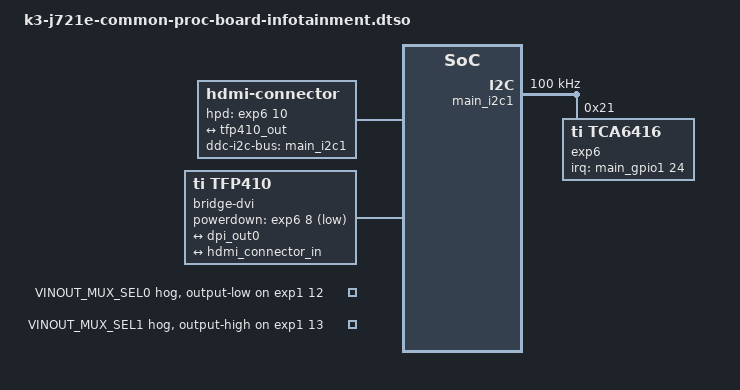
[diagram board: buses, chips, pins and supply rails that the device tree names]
// SPDX-License-Identifier: GPL-2.0-only OR MIT
/*
 * Infotainment Expansion Board for j721e-evm
 * User Guide: <https://www.ti.com/lit/ug/spruit0a/spruit0a.pdf>
 *
 * Copyright (C) 2024 Texas Instruments Incorporated - https://www.ti.com/
 */

/dts-v1/;
/plugin/;

#include <dt-bindings/gpio/gpio.h>
#include <dt-bindings/interrupt-controller/irq.h>

#include "k3-pinctrl.h"

&{/} {
	connector-hdmi {
		compatible = "hdmi-connector";
		label = "hdmi";
		type = "a";
		ddc-i2c-bus = <&main_i2c1>;
		/* P12 - HDMI_HPD */
		hpd-gpios = <&exp6 10 GPIO_ACTIVE_HIGH>;

		port {
			hdmi_connector_in: endpoint {
				remote-endpoint = <&tfp410_out>;
			};
		};
	};

	bridge-dvi {
		compatible = "ti,tfp410";
		/* P10 - HDMI_PDn */
		powerdown-gpios = <&exp6 8 GPIO_ACTIVE_LOW>;
		ti,deskew = <0>;

		ports {
			#address-cells = <1>;
			#size-cells = <0>;

			port@0 {
				reg = <0>;

				tfp410_in: endpoint {
					remote-endpoint = <&dpi_out0>;
					pclk-sample = <1>;
				};
			};

			port@1 {
				reg = <1>;

				tfp410_out: endpoint {
					remote-endpoint =
						<&hdmi_connector_in>;
				};
			};
		};
	};
};

&main_pmx0 {
	main_i2c1_exp6_pins_default: main-i2c1-exp6-default-pins {
		pinctrl-single,pins = <
			J721E_IOPAD(0x264, PIN_INPUT, 7) /* (T29) MMC2_DAT2.GPIO1_24 */
		>;
	};

	dss_vout0_pins_default: dss-vout0-default-pins {
		pinctrl-single,pins = <
			J721E_IOPAD(0x58, PIN_OUTPUT, 10) /* (AE22) PRG1_PRU1_GPO0.VOUT0_DATA0 */
			J721E_IOPAD(0x5c, PIN_OUTPUT, 10) /* (AG23) PRG1_PRU1_GPO1.VOUT0_DATA1 */
			J721E_IOPAD(0x60, PIN_OUTPUT, 10) /* (AF23) PRG1_PRU1_GPO2.VOUT0_DATA2 */
			J721E_IOPAD(0x64, PIN_OUTPUT, 10) /* (AD23) PRG1_PRU1_GPO3.VOUT0_DATA3 */
			J721E_IOPAD(0x68, PIN_OUTPUT, 10) /* (AH24) PRG1_PRU1_GPO4.VOUT0_DATA4 */
			J721E_IOPAD(0x6c, PIN_OUTPUT, 10) /* (AG21) PRG1_PRU1_GPO5.VOUT0_DATA5 */
			J721E_IOPAD(0x70, PIN_OUTPUT, 10) /* (AE23) PRG1_PRU1_GPO6.VOUT0_DATA6 */
			J721E_IOPAD(0x74, PIN_OUTPUT, 10) /* (AC21) PRG1_PRU1_GPO7.VOUT0_DATA7 */
			J721E_IOPAD(0x78, PIN_OUTPUT, 10) /* (Y23)  PRG1_PRU1_GPO8.VOUT0_DATA8 */
			J721E_IOPAD(0x7c, PIN_OUTPUT, 10) /* (AF21) PRG1_PRU1_GPO9.VOUT0_DATA9 */
			J721E_IOPAD(0x80, PIN_OUTPUT, 10) /* (AB23) PRG1_PRU1_GPO10.VOUT0_DATA10 */
			J721E_IOPAD(0x84, PIN_OUTPUT, 10) /* (AJ25) PRG1_PRU1_GPO11.VOUT0_DATA11 */
			J721E_IOPAD(0x88, PIN_OUTPUT, 10) /* (AH25) PRG1_PRU1_GPO12.VOUT0_DATA12 */
			J721E_IOPAD(0x8c, PIN_OUTPUT, 10) /* (AG25) PRG1_PRU1_GPO13.VOUT0_DATA13 */
			J721E_IOPAD(0x90, PIN_OUTPUT, 10) /* (AH26) PRG1_PRU1_GPO14.VOUT0_DATA14 */
			J721E_IOPAD(0x94, PIN_OUTPUT, 10) /* (AJ27) PRG1_PRU1_GPO15.VOUT0_DATA15 */
			J721E_IOPAD(0x30, PIN_OUTPUT, 10) /* (AF24) PRG1_PRU0_GPO11.VOUT0_DATA16 */
			J721E_IOPAD(0x34, PIN_OUTPUT, 10) /* (AJ24) PRG1_PRU0_GPO12.VOUT0_DATA17 */
			J721E_IOPAD(0x38, PIN_OUTPUT, 10) /* (AG24) PRG1_PRU0_GPO13.VOUT0_DATA18 */
			J721E_IOPAD(0x3c, PIN_OUTPUT, 10) /* (AD24) PRG1_PRU0_GPO14.VOUT0_DATA19 */
			J721E_IOPAD(0x40, PIN_OUTPUT, 10) /* (AC24) PRG1_PRU0_GPO15.VOUT0_DATA20 */
			J721E_IOPAD(0x44, PIN_OUTPUT, 10) /* (AE24) PRG1_PRU0_GPO16.VOUT0_DATA21 */
			J721E_IOPAD(0x24, PIN_OUTPUT, 10) /* (AJ20) PRG1_PRU0_GPO8.VOUT0_DATA22 */
			J721E_IOPAD(0x28, PIN_OUTPUT, 10) /* (AG20) PRG1_PRU0_GPO9.VOUT0_DATA23 */
			J721E_IOPAD(0x9c, PIN_OUTPUT, 10) /* (AC22) PRG1_PRU1_GPO17.VOUT0_DE */
			J721E_IOPAD(0x98, PIN_OUTPUT, 10) /* (AJ26) PRG1_PRU1_GPO16.VOUT0_HSYNC */
			J721E_IOPAD(0xa4, PIN_OUTPUT, 10) /* (AH22) PRG1_PRU1_GPO19.VOUT0_PCLK */
			J721E_IOPAD(0xa0, PIN_OUTPUT, 10) /* (AJ22) PRG1_PRU1_GPO18.VOUT0_VSYNC */
		>;
	};
};

&exp1 {
	p14-hog {
		/* P14 - VINOUT_MUX_SEL0 */
		gpio-hog;
		gpios = <12 GPIO_ACTIVE_HIGH>;
		output-low;
		line-name = "VINOUT_MUX_SEL0";
	};

	p15-hog {
		/* P15 - VINOUT_MUX_SEL1 */
		gpio-hog;
		gpios = <13 GPIO_ACTIVE_HIGH>;
		output-high;
		line-name = "VINOUT_MUX_SEL1";
	};
};

&main_i2c1 {
	/* i2c1 is used for DVI DDC, so we need to use 100kHz */
	clock-frequency = <100000>;
	#address-cells = <1>;
	#size-cells = <0>;

	exp6: gpio@21 {
		compatible = "ti,tca6416";
		reg = <0x21>;
		gpio-controller;
		#gpio-cells = <2>;
		pinctrl-names = "default";
		pinctrl-0 = <&main_i2c1_exp6_pins_default>;
		interrupt-parent = <&main_gpio1>;
		interrupts = <24 IRQ_TYPE_EDGE_FALLING>;
		interrupt-controller;
		#interrupt-cells = <2>;

		p11-hog {
			/* P11 - HDMI_DDC_OE */
			gpio-hog;
			gpios = <9 GPIO_ACTIVE_HIGH>;
			output-high;
			line-name = "HDMI_DDC_OE";
		};
	};
};

&dss {
	pinctrl-names = "default";
	pinctrl-0 = <&dss_vout0_pins_default>;

	ports {
		#address-cells = <1>;
		#size-cells = <0>;

		port@0 {
			reg = <0>;
			dpi0_out: endpoint {
				remote-endpoint = <&dp0_in>;
			};
		};

		port@1 {
			reg = <1>;
			dpi_out0: endpoint {
				remote-endpoint = <&tfp410_in>;
			};
		};
	};
};
